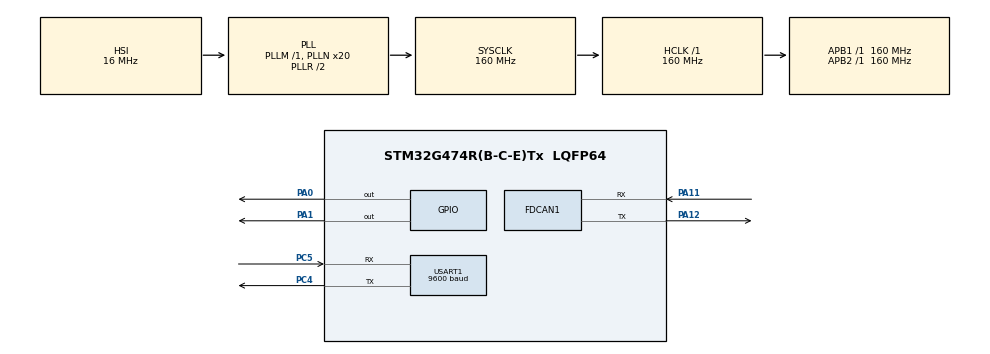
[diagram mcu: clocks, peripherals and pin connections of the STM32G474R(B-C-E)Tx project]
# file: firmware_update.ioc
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FDCAN1.CalculateBaudRateNominal=1000000
FDCAN1.CalculateTimeBitNominal=1000
FDCAN1.CalculateTimeQuantumNominal=50.0
FDCAN1.ClockDivider=FDCAN_CLOCK_DIV8
FDCAN1.DataTimeSeg1=15
FDCAN1.DataTimeSeg2=4
FDCAN1.FrameFormat=FDCAN_FRAME_FD_NO_BRS
FDCAN1.NominalPrescaler=1
FDCAN1.NominalTimeSeg1=15
FDCAN1.NominalTimeSeg2=4
FDCAN1.ProtocolException=ENABLE
FDCAN1.StdFiltersNbr=10
FDCAN1.TransmitPause=ENABLE
Mcu.Family=STM32G4
Mcu.Name=STM32G474R(B-C-E)Tx
Mcu.Package=LQFP64
NVIC.FDCAN1_IT0_IRQn=true\:0\:0\:false\:false\:true\:true\:true\:true
NVIC.PriorityGroup=NVIC_PRIORITYGROUP_4
NVIC.USART1_IRQn=true\:0\:0\:false\:false\:true\:true\:true\:true
PA0.Signal=GPIO_Output
PA1.Signal=GPIO_Output
PA11.Mode=FDCAN_Activate
PA11.Signal=FDCAN1_RX
PA12.Mode=FDCAN_Activate
PA12.Signal=FDCAN1_TX
PA13.Mode=Serial_Wire
PA13.Signal=SYS_JTMS-SWDIO
PA14.Mode=Serial_Wire
PA14.Signal=SYS_JTCK-SWCLK
PC4.Mode=Asynchronous
PC4.Signal=USART1_TX
PC5.Mode=Asynchronous
PC5.Signal=USART1_RX
ProjectManager.HeapSize=0x200
ProjectManager.StackSize=0x400
ProjectManager.TargetToolchain=STM32CubeIDE
RCC.ADC12Freq_Value=160000000
RCC.ADC345Freq_Value=160000000
RCC.AHBFreq_Value=160000000
RCC.APB1Freq_Value=160000000
RCC.APB1TimFreq_Value=160000000
RCC.APB2Freq_Value=160000000
RCC.APB2TimFreq_Value=160000000
RCC.CortexFreq_Value=160000000
RCC.EXTERNAL_CLOCK_VALUE=12288000
RCC.HCLKFreq_Value=160000000
RCC.HSE_VALUE=8000000
RCC.HSI48_VALUE=48000000
RCC.HSI_VALUE=16000000
RCC.LSE_VALUE=32768
RCC.PLLN=20
RCC.SYSCLKFreq_VALUE=160000000
RCC.SYSCLKSource=RCC_SYSCLKSOURCE_PLLCLK
RCC.USBFreq_Value=160000000
RCC.VCOOutputFreq_Value=320000000
USART1.BaudRate=9600
USART1.FIFOMode=FIFOMODE_DISABLE
USART1.VirtualMode-Asynchronous=VM_ASYNC
VP_SYS_VS_DBSignals.Mode=DisableDeadBatterySignals
board=custom

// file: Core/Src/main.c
/* USER CODE BEGIN Header */
/**
  ******************************************************************************
  * @file           : main.c
  * @brief          : Main program body
  ******************************************************************************
  * @attention
  *
  * Copyright (c) 2024 STMicroelectronics.
  * All rights reserved.
  *
  * This software is licensed under terms that can be found in the LICENSE file
  * in the root directory of this software component.
  * If no LICENSE file comes with this software, it is provided AS-IS.
  *
  ******************************************************************************
  */
/* USER CODE END Header */
#include "main.h"

/* USER CODE BEGIN Includes */
//#include <stdio.h>
/* USER CODE END Includes */

FDCAN_HandleTypeDef hfdcan1;

UART_HandleTypeDef huart1;

/* USER CODE BEGIN PV */
uint8_t RxData_66[66];
uint8_t RxData[8];
//uint8_t errorflag = 0;

uint8_t testData[8] = {0x41,0x43,0x4b,0,0,0,0,0}; //41;43;4b;0;0;0;0;0
FDCAN_RxHeaderTypeDef RxHeader; //CAN Bus Transmit Header uint32_t DataLength;
FDCAN_TxHeaderTypeDef TxHeader; //CAN Bus Receive Header
FDCAN_FilterTypeDef FDCAN_Fil1; //CAN Bus Filter
/* USER CODE END PV */

void SystemClock_Config(void);
static void MX_GPIO_Init(void);
static void MX_FDCAN1_Init(void);
static void MX_USART1_UART_Init(void);
/* USER CODE BEGIN PFP */
void user_delaynus_tim(uint32_t);
/*#ifdef __GNUC__
#define PUTCHAR_PROTOTYPE int __io_putchar(int ch)
#else
#define PUTCHAR_PROTOTYPE int fputc(int ch, FILE *f)
#endif

PUTCHAR_PROTOTYPE
{
  HAL_UART_Transmit(&huart1, (uint8_t *)&ch, 1, HAL_MAX_DELAY);
  return ch;
}*/
/* USER CODE END PFP */

int main(void)
{

  /* MCU Configuration--------------------------------------------------------*/

  /* Reset of all peripherals, Initializes the Flash interface and the Systick. */
  HAL_Init();

  /* Configure the system clock */
  SystemClock_Config();

  /* Initialize all configured peripherals */
  MX_GPIO_Init();
  MX_FDCAN1_Init();
  MX_USART1_UART_Init();
  /* USER CODE BEGIN 2 */
  FDCAN_Fil1.IdType = FDCAN_STANDARD_ID;
  FDCAN_Fil1.FilterIndex = 0;
  FDCAN_Fil1.FilterType = FDCAN_FILTER_RANGE;
  FDCAN_Fil1.FilterConfig = FDCAN_FILTER_TO_RXFIFO0;
  FDCAN_Fil1.FilterID1 = 0x000;
  FDCAN_Fil1.FilterID2 = 0x200;

  TxHeader.Identifier = 0x005; //id
  TxHeader.IdType = FDCAN_STANDARD_ID;
  TxHeader.TxFrameType = FDCAN_DATA_FRAME;
  TxHeader.DataLength = FDCAN_DLC_BYTES_64;
  TxHeader.ErrorStateIndicator = FDCAN_ESI_ACTIVE;
  TxHeader.BitRateSwitch = FDCAN_FRAME_FD_NO_BRS; //FDCAN_FRAME_FD_NO_BRS; //FDCAN_BRS_ON;
  TxHeader.FDFormat = FDCAN_FD_CAN; //FDCAN_FD_CAN;
  TxHeader.TxEventFifoControl = FDCAN_NO_TX_EVENTS;
  TxHeader.MessageMarker = 0;

  HAL_FDCAN_ConfigFilter(&hfdcan1,&FDCAN_Fil1);
  HAL_FDCAN_ConfigGlobalFilter(&hfdcan1, FDCAN_ACCEPT_IN_RX_FIFO0, FDCAN_REJECT, DISABLE, DISABLE);
//  HAL_FDCAN_ActivateNotification(&hfdcan1, FDCAN_IT_RX_FIFO0_NEW_MESSAGE, 0);
//  HAL_FDCAN_ActivateNotification(&hfdcan1, FDCAN_IT_RX_FIFO1_NEW_MESSAGE, 0);
  if (HAL_FDCAN_ActivateNotification(&hfdcan1, FDCAN_IT_RX_FIFO0_NEW_MESSAGE, 0) != HAL_OK)
    {
      Error_Handler();
    }
  if (HAL_FDCAN_ConfigTxDelayCompensation(&hfdcan1, 5, 0) != HAL_OK)
  {
    Error_Handler();
  }
  if (HAL_FDCAN_EnableTxDelayCompensation(&hfdcan1) != HAL_OK)
  {
    Error_Handler();
  }
  HAL_FDCAN_Start(&hfdcan1);

  HAL_UART_Receive_IT(&huart1, RxData_66, 66);
  //HAL_UART_Receive_IT(&huart1, RxData, 8);
  /* USER CODE END 2 */

  /* Infinite loop */
  /* USER CODE BEGIN WHILE */
  while (1)
  {
/*	  printf("AA \n\r");
  	HAL_Delay(2000);*/
/*	        if (HAL_FDCAN_AddMessageToTxFifoQ(&hfdcan1, &TxHeader, testData) != HAL_OK)
	        {
	          Error_Handler();
	        }*/
/*	    if (HAL_FDCAN_GetRxFifoFillLevel(&hfdcan1, FDCAN_RX_FIFO0) >= 1)
		{
	    	HAL_GPIO_WritePin(GPIOA, GPIO_PIN_1, GPIO_PIN_SET);
	      if (HAL_FDCAN_GetRxMessage(&hfdcan1, FDCAN_RX_FIFO0, &RxHeader, RxData) != HAL_OK)
	      {
	        Error_Handler();
	      }
		}
	    else{
	    	HAL_GPIO_WritePin(GPIOA, GPIO_PIN_0, GPIO_PIN_SET);
	    }*/
/*	  if(HAL_UART_Receive(&huart1, RxData, 8, 8000)==HAL_OK) //if transfer is successful
	  {
		  HAL_GPIO_WritePin(GPIOA, GPIO_PIN_1, GPIO_PIN_SET);
	  } else {
		  HAL_GPIO_WritePin(GPIOA, GPIO_PIN_0, GPIO_PIN_SET);
	  }*/
/*	  if(USART_GetFlagStatus(&huart1, USART_FLAG_RXNE)!=RESET){
		  HAL_GPIO_WritePin(GPIOA, GPIO_PIN_1, GPIO_PIN_SET);
	  }*/
	  //HAL_UART_Transmit_IT(&huart1, testData, 8);
	  //HAL_GPIO_WritePin(GPIOA, GPIO_PIN_1, GPIO_PIN_SET);
	  //HAL_Delay(1000);
    /* USER CODE END WHILE */

  }
}

void SystemClock_Config(void)
{
  RCC_OscInitTypeDef RCC_OscInitStruct = {0};
  RCC_ClkInitTypeDef RCC_ClkInitStruct = {0};

  /** Configure the main internal regulator output voltage
  */
  HAL_PWREx_ControlVoltageScaling(PWR_REGULATOR_VOLTAGE_SCALE1_BOOST);

  /** Initializes the RCC Oscillators according to the specified parameters
  * in the RCC_OscInitTypeDef structure.
  */
  RCC_OscInitStruct.OscillatorType = RCC_OSCILLATORTYPE_HSI;
  RCC_OscInitStruct.HSIState = RCC_HSI_ON;
  RCC_OscInitStruct.HSICalibrationValue = RCC_HSICALIBRATION_DEFAULT;
  RCC_OscInitStruct.PLL.PLLState = RCC_PLL_ON;
  RCC_OscInitStruct.PLL.PLLSource = RCC_PLLSOURCE_HSI;
  RCC_OscInitStruct.PLL.PLLM = RCC_PLLM_DIV1;
  RCC_OscInitStruct.PLL.PLLN = 20;
  RCC_OscInitStruct.PLL.PLLP = RCC_PLLP_DIV2;
  RCC_OscInitStruct.PLL.PLLQ = RCC_PLLQ_DIV2;
  RCC_OscInitStruct.PLL.PLLR = RCC_PLLR_DIV2;
  if (HAL_RCC_OscConfig(&RCC_OscInitStruct) != HAL_OK)
  {
    Error_Handler();
  }

  /** Initializes the CPU, AHB and APB buses clocks
  */
  RCC_ClkInitStruct.ClockType = RCC_CLOCKTYPE_HCLK|RCC_CLOCKTYPE_SYSCLK
                              |RCC_CLOCKTYPE_PCLK1|RCC_CLOCKTYPE_PCLK2;
  RCC_ClkInitStruct.SYSCLKSource = RCC_SYSCLKSOURCE_PLLCLK;
  RCC_ClkInitStruct.AHBCLKDivider = RCC_SYSCLK_DIV1;
  RCC_ClkInitStruct.APB1CLKDivider = RCC_HCLK_DIV1;
  RCC_ClkInitStruct.APB2CLKDivider = RCC_HCLK_DIV1;

  if (HAL_RCC_ClockConfig(&RCC_ClkInitStruct, FLASH_LATENCY_4) != HAL_OK)
  {
    Error_Handler();
  }
}

static void MX_FDCAN1_Init(void)
{

  hfdcan1.Instance = FDCAN1;
  hfdcan1.Init.ClockDivider = FDCAN_CLOCK_DIV8;
  hfdcan1.Init.FrameFormat = FDCAN_FRAME_FD_NO_BRS;
  hfdcan1.Init.Mode = FDCAN_MODE_NORMAL;
  hfdcan1.Init.AutoRetransmission = DISABLE;
  hfdcan1.Init.TransmitPause = ENABLE;
  hfdcan1.Init.ProtocolException = ENABLE;
  hfdcan1.Init.NominalPrescaler = 1;
  hfdcan1.Init.NominalSyncJumpWidth = 1;
  hfdcan1.Init.NominalTimeSeg1 = 15;
  hfdcan1.Init.NominalTimeSeg2 = 4;
  hfdcan1.Init.DataPrescaler = 1;
  hfdcan1.Init.DataSyncJumpWidth = 1;
  hfdcan1.Init.DataTimeSeg1 = 15;
  hfdcan1.Init.DataTimeSeg2 = 4;
  hfdcan1.Init.StdFiltersNbr = 10;
  hfdcan1.Init.ExtFiltersNbr = 0;
  hfdcan1.Init.TxFifoQueueMode = FDCAN_TX_FIFO_OPERATION;
  if (HAL_FDCAN_Init(&hfdcan1) != HAL_OK)
  {
    Error_Handler();
  }

}

static void MX_USART1_UART_Init(void)
{

  huart1.Instance = USART1;
  huart1.Init.BaudRate = 9600;
  huart1.Init.WordLength = UART_WORDLENGTH_8B;
  huart1.Init.StopBits = UART_STOPBITS_1;
  huart1.Init.Parity = UART_PARITY_NONE;
  huart1.Init.Mode = UART_MODE_TX_RX;
  huart1.Init.HwFlowCtl = UART_HWCONTROL_NONE;
  huart1.Init.OverSampling = UART_OVERSAMPLING_16;
  huart1.Init.OneBitSampling = UART_ONE_BIT_SAMPLE_DISABLE;
  huart1.Init.ClockPrescaler = UART_PRESCALER_DIV1;
  huart1.AdvancedInit.AdvFeatureInit = UART_ADVFEATURE_NO_INIT;
  if (HAL_UART_Init(&huart1) != HAL_OK)
  {
    Error_Handler();
  }
  if (HAL_UARTEx_SetTxFifoThreshold(&huart1, UART_TXFIFO_THRESHOLD_1_8) != HAL_OK)
  {
    Error_Handler();
  }
  if (HAL_UARTEx_SetRxFifoThreshold(&huart1, UART_RXFIFO_THRESHOLD_1_8) != HAL_OK)
  {
    Error_Handler();
  }
  if (HAL_UARTEx_DisableFifoMode(&huart1) != HAL_OK)
  {
    Error_Handler();
  }

}

static void MX_GPIO_Init(void)
{
  GPIO_InitTypeDef GPIO_InitStruct = {0};

  /* GPIO Ports Clock Enable */
  __HAL_RCC_GPIOA_CLK_ENABLE();
  __HAL_RCC_GPIOC_CLK_ENABLE();

  /*Configure GPIO pin Output Level */
  HAL_GPIO_WritePin(GPIOA, GPIO_PIN_0|GPIO_PIN_1, GPIO_PIN_RESET);

  /*Configure GPIO pins : PA0 PA1 */
  GPIO_InitStruct.Pin = GPIO_PIN_0|GPIO_PIN_1;
  GPIO_InitStruct.Mode = GPIO_MODE_OUTPUT_PP;
  GPIO_InitStruct.Pull = GPIO_NOPULL;
  GPIO_InitStruct.Speed = GPIO_SPEED_FREQ_LOW;
  HAL_GPIO_Init(GPIOA, &GPIO_InitStruct);

}

/* USER CODE BEGIN 4 */
void HAL_UART_RxCpltCallback(UART_HandleTypeDef *huart)//有uart 跟 usart
{
/*	if(huart == &huart1) //可以用來判斷是那一個uart發起中斷
	{
		UartReady = RESET;
		HAL_GPIO_WritePin(LD2_GPIO_Port, LD2_Pin, GPIO_PIN_RESET);
	}*/

  /* Set transmission flag: transfer complete */
/*	if(RxData_65[0]==0x09){ //wakeup pattern
		HAL_GPIO_TogglePin(GPIOA, GPIO_PIN_0);
		user_delaynus_tim(1);
		HAL_GPIO_TogglePin(GPIOA, GPIO_PIN_0);
		user_delaynus_tim(1);
		HAL_GPIO_TogglePin(GPIOA, GPIO_PIN_0);
		user_delaynus_tim(1);
		HAL_GPIO_TogglePin(GPIOA, GPIO_PIN_0);
	}
	else{*/
		TxHeader.Identifier = RxData_66[0] * 0xff + RxData_66[1];
		uint8_t *TxData = RxData_66 + 2;
		if(TxHeader.Identifier == 0x10){
	        uint32_t u32TxFifoRqst = HAL_FDCAN_GetLatestTxFifoQRequestBuffer(&hfdcan1);
	        HAL_FDCAN_AbortTxRequest(&hfdcan1, u32TxFifoRqst);
	        //HAL_UART_Transmit_IT(&huart1, RxData_66, 65);
	        //errorflag = 1;
		}
/*		if(TxHeader.Identifier == 0x111){
			TxData[0]=1;
		}*/
	    if (HAL_FDCAN_AddMessageToTxFifoQ(&hfdcan1, &TxHeader, TxData) != HAL_OK)
	    {
	      Error_Handler();
	    }
	//}
    HAL_UART_Receive_IT(&huart1, RxData_66, 66);
    HAL_GPIO_TogglePin(GPIOA, GPIO_PIN_0);
    //HAL_GPIO_WritePin(GPIOA, GPIO_PIN_0, GPIO_PIN_SET);
	//HAL_UART_Receive_IT(&huart1, RxData, 8); //test
}
void HAL_FDCAN_RxFifo0Callback(FDCAN_HandleTypeDef *hfdcanRx1, uint32_t RxFifo0ITs)
{

	HAL_FDCAN_GetRxMessage(hfdcanRx1, FDCAN_RX_FIFO0, &RxHeader, RxData);
	HAL_UART_Transmit_IT(&huart1, RxData, 8);
	HAL_GPIO_TogglePin(GPIOA, GPIO_PIN_1);
	//HAL_GPIO_WritePin(GPIOA, GPIO_PIN_1, GPIO_PIN_SET);
}
/*void user_delaynus_tim(uint32_t nus)
{

 uint16_t  differ = 0xffff-nus-5;
 //设置定时器2的技术初始值
  __HAL_TIM_SetCounter(&htim1,differ);
  //开启定时器
  HAL_TIM_Base_Start(&htim1);

  while( differ<0xffff-5)
 {
  differ = __HAL_TIM_GetCounter(&htim1);
 };
 //关闭定时器
  HAL_TIM_Base_Stop(&htim1);
}*/
/* USER CODE END 4 */

void Error_Handler(void)
{
  __disable_irq();
  while (1)
  {
  }
}
